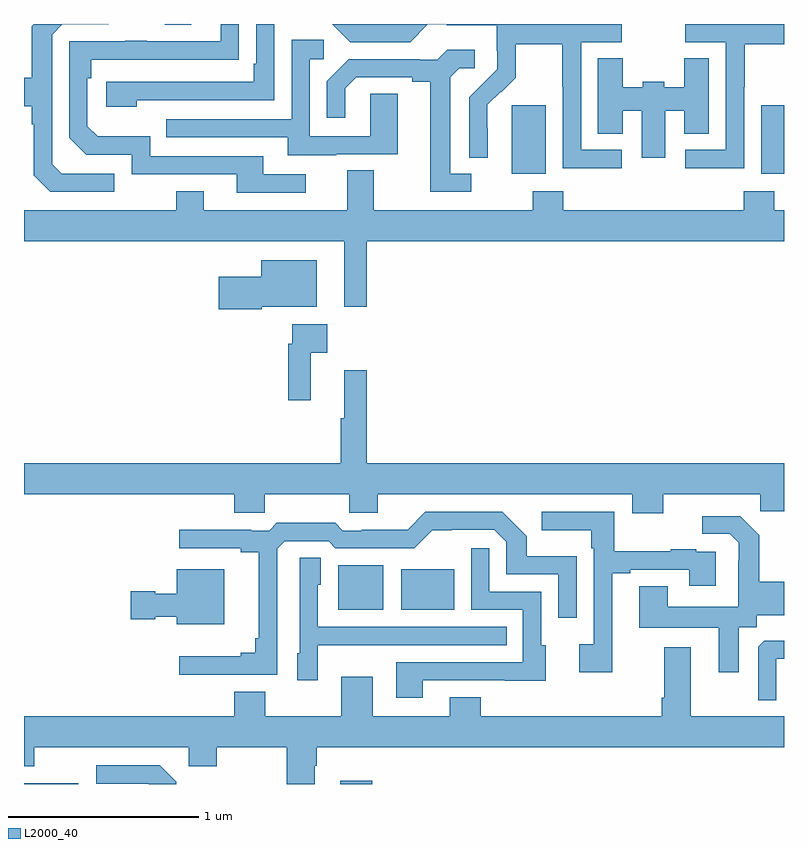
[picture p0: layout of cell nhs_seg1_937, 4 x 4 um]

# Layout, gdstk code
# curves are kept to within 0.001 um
import gdstk
lib = gdstk.Library(unit=1e-6, precision=1e-09)
def R(c, l, rs):  # rectangles x0, y0, x1, y1
    for r in rs: c.add(gdstk.rectangle(r[:2], r[2:], *l))
def P(c, l, *ps):  # polygons
    for p in ps: c.add(gdstk.Polygon(p, *l))
L2000_40 = (2000, 40)

nhs_seg1_937 = lib.new_cell('nhs_seg1_937')
R(nhs_seg1_937, L2000_40, [(161,558.199,161.286,558.204), (162.665,558.199,162.833,558.217), (162.653,559.115,162.892,559.351), (162.986,559.115,163.264,559.33), (163.568,561.41,163.747,561.771), (164.879,561.41,165,561.771), (161.741,562.194,161.881,562.199)])
P(nhs_seg1_937, L2000_40, [(164.146,561.537),(163.932,561.537),(163.932,562.104),(164.146,562.104),(164.146,562.199),(162.989,562.199),(162.987,562.197),(162.872,562.197),(162.872,562.199),(162.622,562.199),(162.717,562.104),(163.032,562.104),(163.125,562.197),(163.225,562.197),(163.225,562.193),(163.488,562.193),(163.488,562.059),(163.49,562.059),(163.49,561.962),(163.344,561.814),(163.344,561.496),(163.44,561.496),(163.439,561.773),(163.509,561.843),(163.512,561.84),(163.589,561.917),(163.589,562.092),(163.834,562.092),(163.834,561.868),(163.836,561.868),(163.836,561.439),(164.146,561.439)],
  [(161.594,561.798),(162.318,561.798),(162.318,562.199),(162.222,562.199),(162.222,561.991),(162.209,561.991),(162.209,561.894),(161.433,561.894),(161.433,561.764),(161.594,561.764)],
  [(164.79,561.868),(164.793,561.868),(164.793,562.092),(165,562.092),(165,562.199),(164.481,562.199),(164.481,562.104),(164.694,562.104),(164.694,561.537),(164.481,561.537),(164.481,561.439),(164.79,561.439)],
  [(161.476,561.411),(161.199,561.411),(161.148,561.462),(161.148,562.143),(161.202,562.197),(161.446,562.197),(161.446,562.199),(161.052,562.199),(161.04,562.187),(161.04,561.915),(161,561.915),(161,561.767),(161.04,561.767),(161.04,561.671),(161.052,561.671),(161.052,561.402),(161.139,561.315),(161.476,561.315)],
  [(162.484,561.408),(162.259,561.408),(162.259,561.504),(161.664,561.504),(161.664,561.607),(161.387,561.607),(161.334,561.66),(161.334,561.914),(161.354,561.914),(161.354,562.011),(162.131,562.012),(162.131,562.199),(162.035,562.199),(162.035,562.107),(161.645,562.107),(161.645,562.112),(161.533,562.112),(161.533,562.107),(161.238,562.107),(161.238,561.6),(161.328,561.51),(161.568,561.51),(161.568,561.408),(162.119,561.408),(162.119,561.312),(162.484,561.312)],
  [(162.643,561.513),(162.967,561.513),(162.967,561.833),(162.822,561.833),(162.822,561.609),(162.504,561.609),(162.504,562.014),(162.577,562.014),(162.577,562.115),(162.408,562.115),(162.408,561.699),(161.749,561.699),(161.749,561.603),(162.389,561.603),(162.389,561.509),(162.643,561.509)],
  [(163.354,561.411),(163.243,561.411),(163.243,561.919),(163.29,561.966),(163.372,561.966),(163.372,562.063),(163.228,562.063),(163.176,562.011),(163.082,562.011),(163.082,562.014),(162.71,562.014),(162.594,561.898),(162.594,561.705),(162.691,561.705),(162.691,561.861),(162.748,561.918),(163.043,561.918),(163.043,561.896),(163.139,561.896),(163.139,561.315),(163.354,561.315)],
  [(164.374,561.743),(164.474,561.743),(164.474,561.622),(164.605,561.622),(164.605,562.019),(164.474,562.019),(164.474,561.865),(164.37,561.865),(164.37,561.896),(164.256,561.896),(164.256,561.865),(164.152,561.865),(164.152,562.019),(164.021,562.019),(164.021,561.622),(164.152,561.622),(164.152,561.743),(164.252,561.743),(164.252,561.495),(164.374,561.495)],
  [(165,561.22),(164.949,561.22),(164.949,561.319),(164.789,561.319),(164.789,561.22),(163.838,561.22),(163.838,561.319),(163.678,561.319),(163.678,561.22),(162.841,561.22),(162.841,561.428),(162.701,561.428),(162.701,561.22),(161.947,561.22),(161.947,561.319),(161.8,561.319),(161.8,561.22),(161,561.22),(161,561.056),(162.686,561.056),(162.686,560.712),(162.803,560.712),(162.803,561.056),(165,561.056)],
  [(162.252,560.711),(162.541,560.711),(162.541,560.956),(162.248,560.956),(162.248,560.869),(162.024,560.869),(162.024,560.699),(162.252,560.699)],
  [(162.509,560.468),(162.595,560.468),(162.595,560.62),(162.411,560.62),(162.411,560.516),(162.391,560.516),(162.391,560.22),(162.509,560.22)],
  [(164.365,559.724),(164.875,559.724),(164.875,559.634),(165,559.634),(165,559.888),(162.803,559.888),(162.803,560.377),(162.686,560.377),(162.686,560.124),(162.667,560.124),(162.667,559.888),(161,559.888),(161,559.724),(162.107,559.724),(162.107,559.626),(162.267,559.626),(162.267,559.724),(162.712,559.724),(162.712,559.626),(162.862,559.626),(162.862,559.724),(164.201,559.724),(164.201,559.625),(164.365,559.625)],
  [(164.095,559.308),(164.191,559.308),(164.191,559.326),(164.501,559.326),(164.501,559.242),(164.641,559.242),(164.641,559.422),(164.537,559.422),(164.537,559.435),(164.405,559.435),(164.405,559.424),(164.107,559.424),(164.107,559.632),(163.725,559.632),(163.725,559.535),(163.986,559.535),(163.986,559.439),(163.998,559.439),(163.998,558.934),(163.923,558.934),(163.923,558.786),(164.095,558.786)],
  [(162.333,559.437),(162.372,559.476),(162.603,559.476),(162.639,559.44),(163.053,559.44),(163.148,559.535),(163.476,559.536),(163.539,559.473),(163.539,559.302),(163.812,559.302),(163.812,559.074),(163.908,559.074),(163.908,559.399),(163.647,559.399),(163.647,559.502),(163.516,559.632),(163.113,559.632),(163.019,559.538),(162.778,559.538),(162.778,559.533),(162.678,559.533),(162.639,559.573),(162.331,559.573),(162.291,559.533),(162.197,559.533),(162.197,559.538),(161.817,559.538),(161.817,559.44),(162.14,559.44),(162.14,559.418),(162.236,559.418),(162.236,558.967),(162.217,558.967),(162.217,558.89),(162.14,558.89),(162.14,558.871),(161.817,558.871),(161.817,558.774),(162.333,558.774)],
  [(164.761,559.024),(164.856,559.024),(164.856,559.088),(165,559.088),(165,559.264),(164.871,559.264),(164.871,559.509),(164.771,559.609),(164.571,559.609),(164.571,559.515),(164.715,559.515),(164.762,559.468),(164.762,559.373),(164.76,559.373),(164.76,559.132),(164.389,559.132),(164.389,559.241),(164.237,559.241),(164.237,559.022),(164.657,559.022),(164.657,558.786),(164.761,558.786)],
  [(163.099,558.744),(163.529,558.744),(163.529,558.743),(163.747,558.743),(163.747,558.93),(163.722,558.93),(163.722,559.212),(163.449,559.212),(163.449,559.441),(163.353,559.441),(163.353,559.116),(163.626,559.116),(163.626,558.84),(162.959,558.84),(162.959,558.654),(163.099,558.654)],
  [(162.546,558.929),(162.863,558.929),(162.863,558.93),(163.541,558.93),(163.541,559.026),(162.546,559.026),(162.546,559.248),(162.562,559.248),(162.562,559.391),(162.45,559.391),(162.45,558.888),(162.437,558.888),(162.437,558.744),(162.546,558.744)],
  [(162.055,559.33),(161.804,559.33),(161.804,559.201),(161.691,559.201),(161.691,559.214),(161.562,559.214),(161.562,559.067),(161.691,559.067),(161.691,559.079),(161.804,559.079),(161.804,559.04),(162.055,559.04)],
  [(164.958,558.858),(165,558.858),(165,558.953),(164.897,558.953),(164.865,558.921),(164.865,558.641),(164.958,558.641)],
  [(162.529,558.296),(162.542,558.296),(162.542,558.392),(165,558.392),(165,558.556),(164.509,558.556),(164.509,558.919),(164.369,558.919),(164.369,558.652),(164.357,558.652),(164.357,558.556),(163.405,558.556),(163.405,558.655),(163.241,558.655),(163.241,558.556),(162.835,558.556),(162.835,558.763),(162.671,558.763),(162.671,558.556),(162.271,558.556),(162.271,558.685),(162.107,558.685),(162.107,558.556),(161,558.556),(161,558.293),(161.055,558.293),(161.055,558.392),(161.868,558.392),(161.868,558.293),(162.015,558.293),(162.015,558.392),(162.382,558.392),(162.382,558.199),(162.529,558.199)],
  [(161.802,558.21),(161.715,558.297),(161.379,558.297),(161.379,558.201),(161.655,558.201),(161.657,558.199),(161.802,558.199)])

lib.write_gds('nhs_seg1_937.gds')
